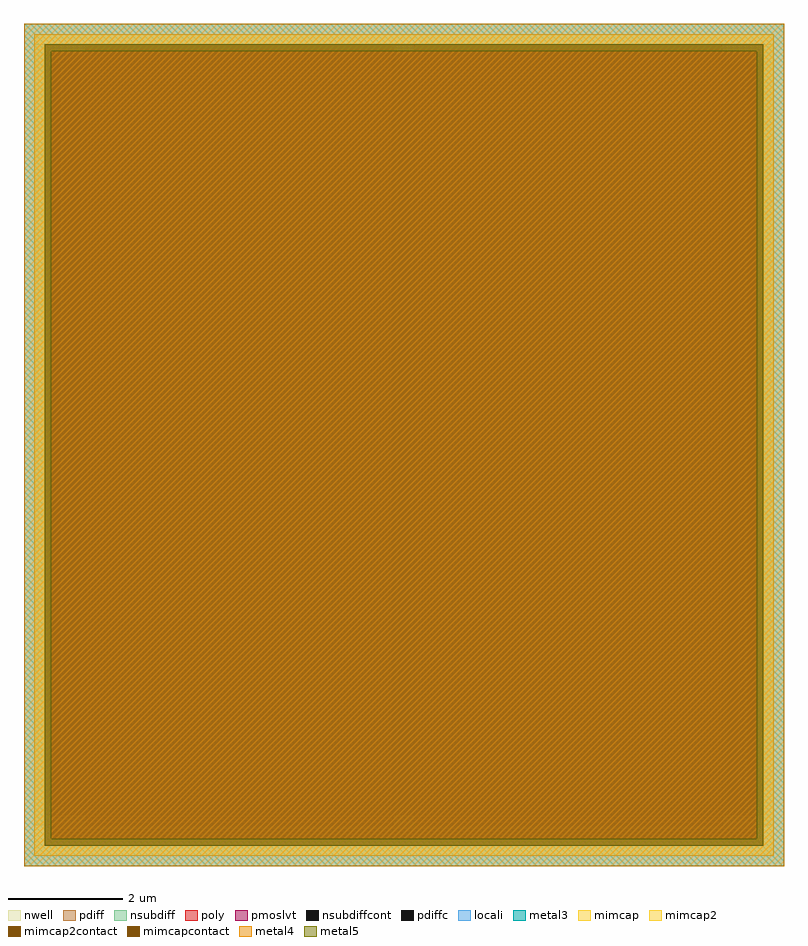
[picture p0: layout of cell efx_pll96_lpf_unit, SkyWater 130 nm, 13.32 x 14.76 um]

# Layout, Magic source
magic
tech sky130A
use mimcap2_w72_l80  mimcap2_w72_l80_0
transform 1 0 648 0 1 -36
box -666 0 666 1476
use mimcap_w72_l80  mimcap_w72_l80_0
transform 1 0 648 0 1 -36
box -666 0 666 1476
use pmos_n74_f2_l5400_bt_tl_tr_lvt  pmos_n74_f2_l5400_bt_tl_tr_lvt_0
transform 1 0 72 0 1 54
box -72 -18 1224 1350
<< properties >>
string FIXED_BBOX -18 -36 1314 1440
<< end >>

# cell mimcap2_w72_l80: kit device mimcap2, nw 72 nl 80

# cell mimcap_w72_l80: kit device mimcap, nw 72 nl 80

# cell pmos_n74_f2_l5400_bt_tl_tr_lvt: kit device pmos, n 74 fingers 2 length 5.4 butted 1 ltap 1 rtap 1 vt lvt tgate 0 bgate 0
